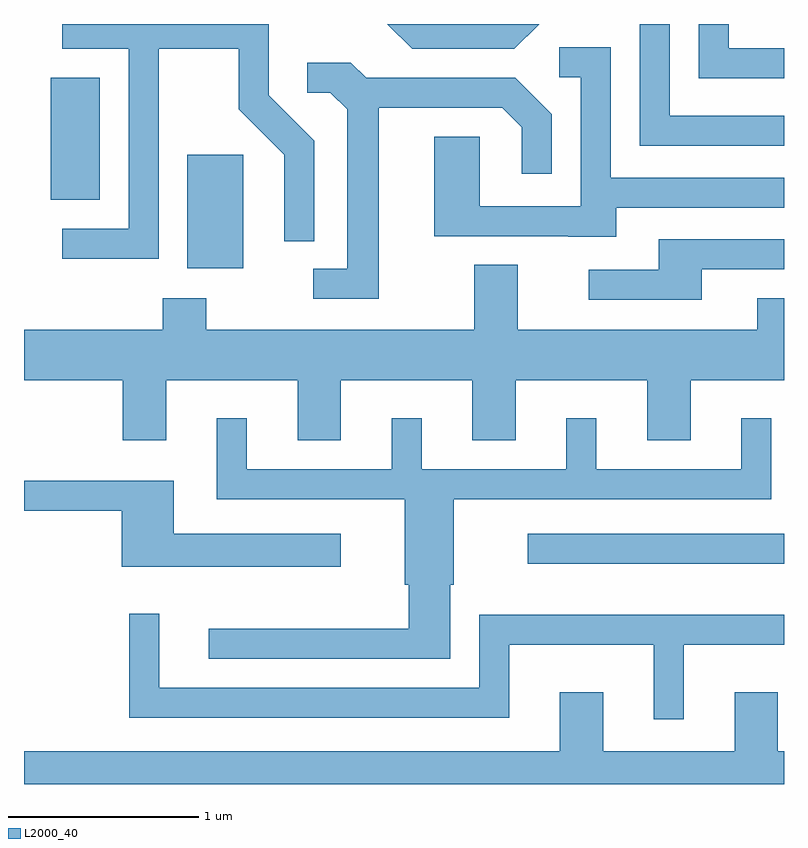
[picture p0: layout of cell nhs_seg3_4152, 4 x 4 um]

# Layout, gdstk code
import gdstk
lib = gdstk.Library(unit=1e-6, precision=1e-09)
def R(c, l, rs):  # rectangles x0, y0, x1, y1
    for r in rs: c.add(gdstk.rectangle(r[:2], r[2:], *l))
def P(c, l, *ps):  # polygons
    for p in ps: c.add(gdstk.Polygon(p, *l))
L2000_40 = (2000, 40)

nhs_seg3_4152 = lib.new_cell('nhs_seg3_4152')
R(nhs_seg3_4152, L2000_40, [(310.263,1125.051,311.611,1125.209), (308.471,1126.606,308.764,1127.204), (307.751,1126.966,308.009,1127.609)])
P(nhs_seg3_4152, L2000_40, [(311.611,1127.764),(311.319,1127.764),(311.319,1127.892),(311.161,1127.892),(311.161,1127.606),(311.611,1127.606)],
  [(311.611,1127.409),(311.009,1127.409),(311.009,1127.892),(310.851,1127.892),(310.851,1127.251),(311.611,1127.251)],
  [(310.323,1127.892),(309.523,1127.892),(309.654,1127.761),(310.192,1127.761)],
  [(308.319,1127.761),(308.741,1127.761),(308.741,1127.444),(308.981,1127.204),(308.981,1126.748),(309.139,1126.748),(309.139,1127.277),(308.899,1127.517),(308.899,1127.892),(307.813,1127.892),(307.813,1127.761),(308.161,1127.761),(308.161,1126.814),(307.813,1126.814),(307.813,1126.656),(308.319,1126.656)],
  [(310.729,1126.926),(311.611,1126.926),(311.611,1127.084),(310.699,1127.084),(310.699,1127.769),(310.428,1127.769),(310.428,1127.611),(310.541,1127.611),(310.541,1126.934),(310.009,1126.934),(310.009,1127.299),(309.771,1127.299),(309.771,1126.776),(310.475,1126.776),(310.475,1126.771),(310.729,1126.771)],
  [(309.479,1127.451),(310.129,1127.451),(310.231,1127.349),(310.231,1127.103),(310.389,1127.103),(310.389,1127.417),(310.197,1127.609),(309.412,1127.609),(309.332,1127.689),(309.103,1127.689),(309.103,1127.531),(309.224,1127.531),(309.311,1127.444),(309.311,1126.604),(309.133,1126.604),(309.133,1126.446),(309.479,1126.446)],
  [(311.179,1126.601),(311.611,1126.601),(311.611,1126.759),(310.951,1126.759),(310.951,1126.599),(310.583,1126.599),(310.583,1126.441),(311.179,1126.441)],
  [(308.341,1126.284),(307.611,1126.284),(307.611,1126.016),(308.131,1126.016),(308.131,1125.701),(308.359,1125.701),(308.359,1126.016),(309.051,1126.016),(309.051,1125.701),(309.279,1125.701),(309.279,1126.016),(309.971,1126.016),(309.971,1125.701),(310.199,1125.701),(310.199,1126.016),(310.891,1126.016),(310.891,1125.701),(311.119,1125.701),(311.119,1126.016),(311.611,1126.016),(311.611,1126.449),(311.471,1126.449),(311.471,1126.284),(310.209,1126.284),(310.209,1126.624),(309.981,1126.624),(309.981,1126.284),(308.569,1126.284),(308.569,1126.449),(308.341,1126.449)],
  [(309.854,1124.941),(309.874,1124.941),(309.874,1125.391),(311.544,1125.391),(311.544,1125.818),(311.386,1125.818),(311.386,1125.549),(310.624,1125.549),(310.624,1125.818),(310.466,1125.818),(310.466,1125.549),(309.704,1125.549),(309.704,1125.818),(309.546,1125.818),(309.546,1125.549),(308.784,1125.549),(308.784,1125.818),(308.626,1125.818),(308.626,1125.391),(309.616,1125.391),(309.616,1124.941),(309.636,1124.941),(309.636,1124.709),(308.583,1124.709),(308.583,1124.551),(309.854,1124.551)],
  [(309.279,1125.209),(308.399,1125.209),(308.399,1125.489),(307.611,1125.489),(307.611,1125.331),(308.126,1125.331),(308.126,1125.036),(309.279,1125.036)],
  [(311.084,1124.626),(311.611,1124.626),(311.611,1124.784),(310.006,1124.784),(310.006,1124.399),(308.324,1124.399),(308.324,1124.788),(308.166,1124.788),(308.166,1124.241),(310.164,1124.241),(310.164,1124.626),(310.926,1124.626),(310.926,1124.233),(311.084,1124.233)],
  [(311.611,1124.064),(311.579,1124.064),(311.579,1124.374),(311.351,1124.374),(311.351,1124.064),(310.659,1124.064),(310.659,1124.374),(310.431,1124.374),(310.431,1124.064),(307.611,1124.064),(307.611,1123.892),(311.611,1123.892)])

lib.write_gds('nhs_seg3_4152.gds')
